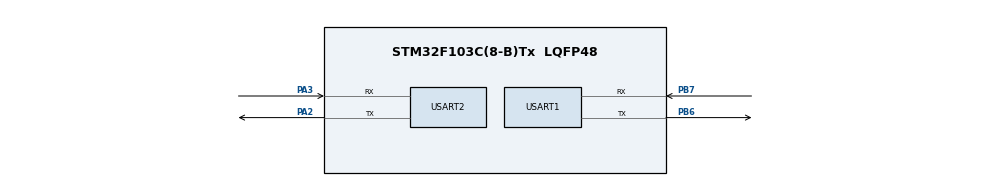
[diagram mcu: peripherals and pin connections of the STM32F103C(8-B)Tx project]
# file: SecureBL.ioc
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Mcu.Family=STM32F1
Mcu.Name=STM32F103C(8-B)Tx
Mcu.Package=LQFP48
NVIC.PriorityGroup=NVIC_PRIORITYGROUP_4
PA13.Mode=Serial_Wire
PA13.Signal=SYS_JTMS-SWDIO
PA14.Mode=Serial_Wire
PA14.Signal=SYS_JTCK-SWCLK
PA2.Mode=Asynchronous
PA2.Signal=USART2_TX
PA3.Mode=Asynchronous
PA3.Signal=USART2_RX
PB6.Mode=Asynchronous
PB6.Signal=USART1_TX
PB7.Mode=Asynchronous
PB7.Signal=USART1_RX
ProjectManager.HeapSize=0x200
ProjectManager.StackSize=0x400
ProjectManager.TargetToolchain=STM32CubeIDE
RCC.APB1Freq_Value=8000000
RCC.APB2Freq_Value=8000000
USART1.VirtualMode=VM_ASYNC
USART2.VirtualMode=VM_ASYNC
board=custom

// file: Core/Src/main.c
/* USER CODE BEGIN Header */
/**
 ******************************************************************************
 * @file           : main.c
 * @brief          : Main program body
 ******************************************************************************
 * @attention
 *
 * Copyright (c) 2024 STMicroelectronics.
 * All rights reserved.
 *
 * This software is licensed under terms that can be found in the LICENSE file
 * in the root directory of this software component.
 * If no LICENSE file comes with this software, it is provided AS-IS.
 *
 ******************************************************************************
 */
#include "crc.h"
#include "bootloader.h"
/* USER CODE END Header */
#include "main.h"

/* USER CODE BEGIN PM */
CRC_Handle_t hcrc;
/* USER CODE END PM */

UART_HandleTypeDef huart1;
UART_HandleTypeDef huart2;

/* USER CODE BEGIN PV */
extern BL_INFO_t *bl_info_ptr;
/* USER CODE END PV */

void
SystemClock_Config (void);
static void
MX_GPIO_Init (void);
static void
MX_USART1_UART_Init (void);
static void
MX_USART2_UART_Init (void);

int
main (void)
{

  /* MCU Configuration--------------------------------------------------------*/

  /* Reset of all peripherals, Initializes the Flash interface and the Systick. */
  HAL_Init ();

  /* USER CODE BEGIN Init */
  BL_Init ();
  /* USER CODE END Init */

  /* Configure the system clock */
  SystemClock_Config ();

  /* Initialize all configured peripherals */
  MX_GPIO_Init ();
  MX_USART1_UART_Init ();
  MX_USART2_UART_Init ();
  /* USER CODE BEGIN 2 */
  hcrc.crc_initval = DEFAULT_INIT_VAL;
  hcrc.crc_poly = DEFAULT_POLY_VAL;

  /* USER CODE END 2 */

  /* Infinite loop */
  /* USER CODE BEGIN WHILE */

  uint32_t wait_time = 10000;
  uint8_t status = 0;
  uint32_t start_time = HAL_GetTick ();
  uint8_t stuck_on_menu = 0;
  BL_SendAck (BL_ACK);
  while (1)
    {

      if (((HAL_GetTick () - start_time) > wait_time) && (stuck_on_menu == 0))
	{
	  /* verify app */
	  status = BL_VerifyApplication ();
	  switch (status)
	    {

	    case APP_VERIFIED:
#ifdef DEBUG_ENABLED
	      BL_SendMSG(&DEBUG_USART_HANDLE,"\r Verified: Jumping to APP :D \r\n") ;
#endif
	      BL_JumpToApplication (APP_START_PAGE);
	      break;

	    case APP_NOT_VERIFIED:
#ifdef DEBUG_ENABLED
	      BL_SendMSG(&DEBUG_USART_HANDLE,"\rDEBUG: APPLICATION Not Verified Try Booting  or Call Abokhalil @moahmed1907@gmail.com \r\n") ;
#endif
	    case UPDATE_FOUND:
#ifdef DEBUG_ENABLED
	      BL_SendMSG(&DEBUG_USART_HANDLE,"\rDEBUG : Update Found\r\n") ;
#endif
	      BL_INFO_t temp_info;
	      Get_CurrentBL_Info (&temp_info);
	      BL_InstallApplication ();
	      status = BL_VerifyApplication ();
	      if (status == APP_VERIFIED)
		{
		  /* Jump to updated app */
		  BL_JumpToApplication (APP_START_PAGE);
		}
	      break;
	    case NOR_APP_NOT_UPDATE_FOUND:
	      stuck_on_menu = 1;
#ifdef DEBUG_ENABLED
	      BL_SendMSG(&DEBUG_USART_HANDLE,"\rDEBUG :  The Flash only Carry the Bootloader \r\n") ;
#endif
	      break;
	    case VERIFICATION_ERROR:
#ifdef DEBUG_ENABLED
	      BL_SendMSG(&DEBUG_USART_HANDLE,"\rDEBUG :  Verification Error Try again \r\n") ;
#endif
	    default:
#ifdef DEBUG_ENABLED
	      BL_SendMSG(&DEBUG_USART_HANDLE,"\rInvalid Return\r\n") ;
#endif
	    }
	}
      else
	{
	  /* Bootloader Menu will appear Just for wait_time miliseconds e.g 10000 */
	  if (BL_FetchUARTCommand () == BL_NACK)
	    {
#ifdef DEBUG_ENABLED
	      BL_SendMSG(&DEBUG_USART_HANDLE,"ERROR: BL_FetchUsartCMD() returned BL_NACK\r\n") ;
#endif
	    }
	  else
	    {
		/* Reset the Counter */
	      start_time = HAL_GetTick() ;
#ifdef DEBUG_ENABLED
		 	     BL_SendMSG(&DEBUG_USART_HANDLE,"ERROR: BL_FetchUsartCMD() returned BL_NACK\r\n") ;
#endif
	    }
	  /* USER CODE END WHILE */

	}
    }
}
void
SystemClock_Config (void)
{
  RCC_OscInitTypeDef RCC_OscInitStruct =
    { 0 };
  RCC_ClkInitTypeDef RCC_ClkInitStruct =
    { 0 };

  /** Initializes the RCC Oscillators according to the specified parameters
   * in the RCC_OscInitTypeDef structure.
   */
  RCC_OscInitStruct.OscillatorType = RCC_OSCILLATORTYPE_HSI;
  RCC_OscInitStruct.HSIState = RCC_HSI_ON;
  RCC_OscInitStruct.HSICalibrationValue = RCC_HSICALIBRATION_DEFAULT;
  RCC_OscInitStruct.PLL.PLLState = RCC_PLL_NONE;
  if (HAL_RCC_OscConfig (&RCC_OscInitStruct) != HAL_OK)
    {
      Error_Handler ();
    }

  /** Initializes the CPU, AHB and APB buses clocks
   */
  RCC_ClkInitStruct.ClockType = RCC_CLOCKTYPE_HCLK | RCC_CLOCKTYPE_SYSCLK
      | RCC_CLOCKTYPE_PCLK1 | RCC_CLOCKTYPE_PCLK2;
  RCC_ClkInitStruct.SYSCLKSource = RCC_SYSCLKSOURCE_HSI;
  RCC_ClkInitStruct.AHBCLKDivider = RCC_SYSCLK_DIV1;
  RCC_ClkInitStruct.APB1CLKDivider = RCC_HCLK_DIV1;
  RCC_ClkInitStruct.APB2CLKDivider = RCC_HCLK_DIV1;

  if (HAL_RCC_ClockConfig (&RCC_ClkInitStruct, FLASH_LATENCY_0) != HAL_OK)
    {
      Error_Handler ();
    }
}

static void
MX_USART1_UART_Init (void)
{

  huart1.Instance = USART1;
  huart1.Init.BaudRate = 115200;
  huart1.Init.WordLength = UART_WORDLENGTH_8B;
  huart1.Init.StopBits = UART_STOPBITS_1;
  huart1.Init.Parity = UART_PARITY_NONE;
  huart1.Init.Mode = UART_MODE_TX_RX;
  huart1.Init.HwFlowCtl = UART_HWCONTROL_NONE;
  huart1.Init.OverSampling = UART_OVERSAMPLING_16;
  if (HAL_UART_Init (&huart1) != HAL_OK)
    {
      Error_Handler ();
    }

}

static void
MX_USART2_UART_Init (void)
{

  huart2.Instance = USART2;
  huart2.Init.BaudRate = 115200;
  huart2.Init.WordLength = UART_WORDLENGTH_8B;
  huart2.Init.StopBits = UART_STOPBITS_1;
  huart2.Init.Parity = UART_PARITY_NONE;
  huart2.Init.Mode = UART_MODE_TX_RX;
  huart2.Init.HwFlowCtl = UART_HWCONTROL_NONE;
  huart2.Init.OverSampling = UART_OVERSAMPLING_16;
  if (HAL_UART_Init (&huart2) != HAL_OK)
    {
      Error_Handler ();
    }

}

static void
MX_GPIO_Init (void)
{

  /* GPIO Ports Clock Enable */
  __HAL_RCC_GPIOA_CLK_ENABLE();
  __HAL_RCC_GPIOB_CLK_ENABLE();

}

void
Error_Handler (void)
{
  /* USER CODE BEGIN Error_Handler_Debug */
  /* User can add his own implementation to report the HAL error return state */
  __disable_irq ();
  while (1)
    {
    }
  /* USER CODE END Error_Handler_Debug */
}
